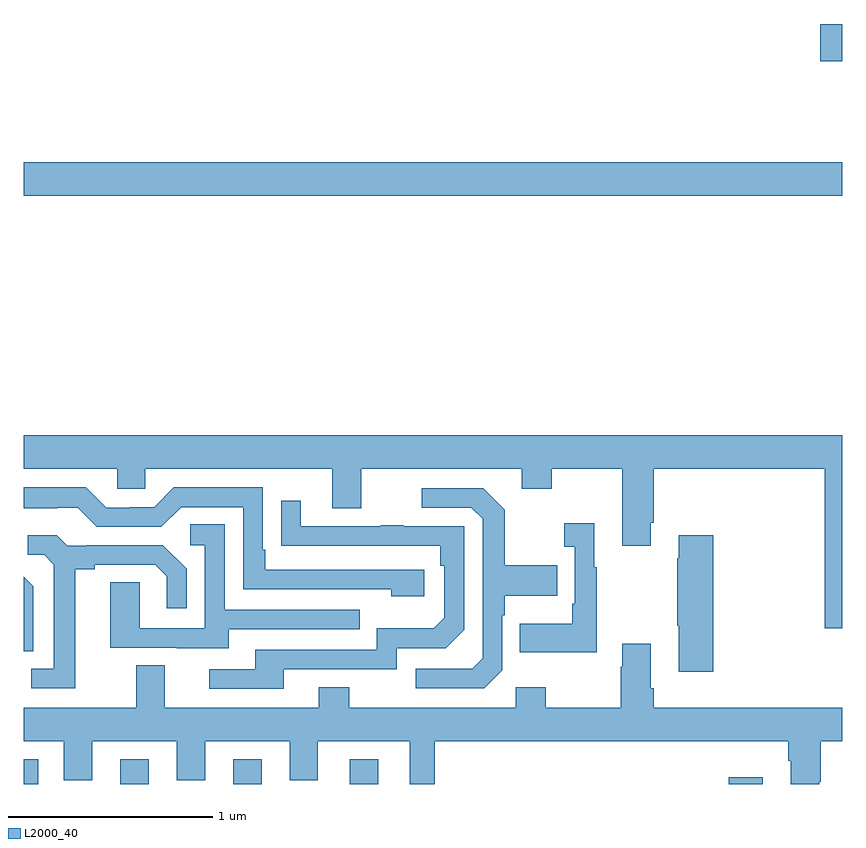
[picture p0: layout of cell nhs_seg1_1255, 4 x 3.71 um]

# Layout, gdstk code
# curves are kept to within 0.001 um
import gdstk
lib = gdstk.Library(unit=1e-6, precision=1e-09)
def R(c, l, rs):  # rectangles x0, y0, x1, y1
    for r in rs: c.add(gdstk.rectangle(r[:2], r[2:], *l))
def P(c, l, *ps):  # polygons
    for p in ps: c.add(gdstk.Polygon(p, *l))
L2000_40 = (2000, 40)

nhs_seg1_1255 = lib.new_cell('nhs_seg1_1255')
R(nhs_seg1_1255, L2000_40, [(179,542.199,179.071,542.32), (179.471,542.199,179.611,542.32), (180.023,542.199,180.163,542.32), (180.593,542.199,180.733,542.32), (182.444,542.199,182.611,542.233), (179,545.072,183,545.236), (182.892,545.729,183,545.912)])
P(nhs_seg1_1255, L2000_40, [(183,543.904),(179,543.904),(179,543.74),(179.457,543.74),(179.457,543.642),(179.595,543.642),(179.595,543.74),(180.509,543.74),(180.509,543.546),(180.649,543.546),(180.649,543.74),(181.433,543.74),(181.433,543.641),(181.581,543.641),(181.581,543.74),(181.925,543.74),(181.925,543.363),(182.065,543.363),(182.065,543.475),(182.078,543.475),(182.078,543.74),(182.915,543.74),(182.915,542.961),(183,542.961)],
  [(180.958,543.246),(180.181,543.246),(180.181,543.343),(180.168,543.343),(180.168,543.648),(179.733,543.648),(179.637,543.552),(179.519,543.552),(179.519,543.549),(179.403,543.549),(179.303,543.649),(179,543.649),(179,543.545),(179.165,543.545),(179.165,543.549),(179.265,543.549),(179.358,543.456),(179.673,543.456),(179.769,543.552),(180.072,543.552),(180.072,543.15),(180.797,543.15),(180.797,543.116),(180.958,543.116)],
  [(181.338,542.754),(181.338,543.023),(181.351,543.023),(181.351,543.119),(181.607,543.119),(181.607,543.267),(181.351,543.267),(181.351,543.539),(181.245,543.645),(180.945,543.645),(180.945,543.549),(181.188,543.549),(181.242,543.495),(181.242,542.814),(181.191,542.763),(180.915,542.763),(180.915,542.667),(181.251,542.667)],
  [(180.271,542.76),(180.822,542.76),(180.822,542.862),(181.062,542.862),(181.152,542.952),(181.152,543.459),(180.857,543.459),(180.857,543.464),(180.745,543.464),(180.745,543.459),(180.355,543.459),(180.355,543.583),(180.259,543.583),(180.259,543.364),(181.036,543.363),(181.036,543.266),(181.056,543.266),(181.056,543.012),(181.003,542.959),(180.726,542.959),(180.726,542.856),(180.131,542.856),(180.131,542.76),(179.907,542.76),(179.907,542.664),(180.271,542.664)],
  [(181.801,543.259),(181.789,543.259),(181.789,543.472),(181.641,543.472),(181.641,543.359),(181.692,543.359),(181.692,543.079),(181.68,543.079),(181.68,542.983),(181.423,542.983),(181.423,542.843),(181.801,542.843)],
  [(180.001,542.955),(180.641,542.955),(180.641,543.051),(179.982,543.051),(179.982,543.467),(179.814,543.467),(179.814,543.366),(179.886,543.366),(179.886,542.961),(179.568,542.961),(179.568,543.185),(179.423,543.185),(179.423,542.865),(179.747,542.865),(179.747,542.861),(180.001,542.861)],
  [(179.251,543.248),(179.347,543.248),(179.347,543.27),(179.642,543.27),(179.699,543.213),(179.699,543.057),(179.796,543.057),(179.796,543.25),(179.68,543.366),(179.308,543.366),(179.308,543.363),(179.214,543.363),(179.162,543.415),(179.019,543.415),(179.019,543.318),(179.1,543.318),(179.147,543.271),(179.147,542.763),(179.037,542.763),(179.037,542.667),(179.251,542.667)],
  [(182.369,543.415),(182.201,543.415),(182.201,543.302),(182.194,543.302),(182.194,542.971),(182.201,542.971),(182.201,542.748),(182.369,542.748)],
  [(179.046,543.166),(179,543.212),(179,542.848),(179.046,542.848)],
  [(181.009,542.408),(182.735,542.408),(182.735,542.312),(182.747,542.312),(182.747,542.199),(182.887,542.199),(182.887,542.209),(182.895,542.209),(182.895,542.408),(183,542.408),(183,542.572),(182.078,542.572),(182.078,542.668),(182.065,542.668),(182.065,542.884),(181.925,542.884),(181.925,542.771),(181.918,542.771),(181.918,542.572),(181.551,542.572),(181.551,542.671),(181.404,542.671),(181.404,542.572),(180.591,542.572),(180.591,542.671),(180.443,542.671),(180.443,542.572),(179.689,542.572),(179.689,542.78),(179.549,542.78),(179.549,542.572),(179,542.572),(179,542.408),(179.195,542.408),(179.195,542.218),(179.335,542.218),(179.335,542.408),(179.747,542.408),(179.747,542.218),(179.887,542.218),(179.887,542.408),(180.299,542.408),(180.299,542.218),(180.438,542.218),(180.438,542.408),(180.887,542.408),(180.887,542.199),(181.009,542.199)])

lib.write_gds('nhs_seg1_1255.gds')
